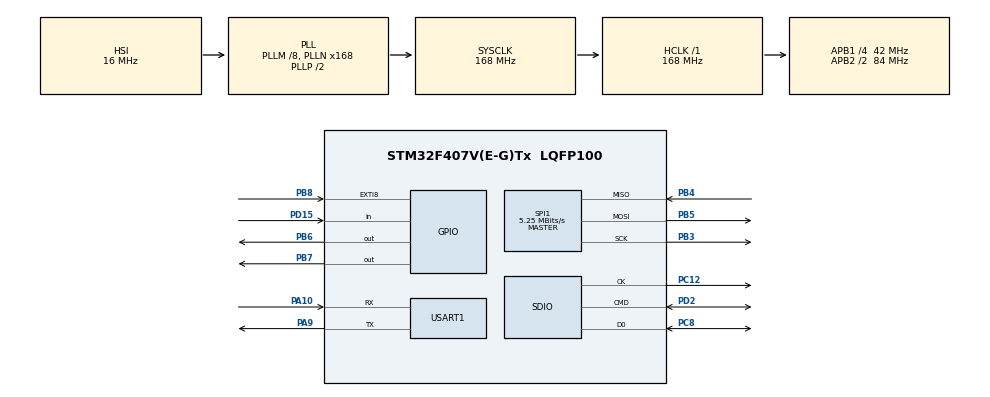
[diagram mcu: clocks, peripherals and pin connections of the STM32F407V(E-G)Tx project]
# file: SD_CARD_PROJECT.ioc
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FATFS.BSP.number=1
FATFS0.BSP.STBoard=false
FATFS0.BSP.api=Unknown
FATFS0.BSP.instance=PD15
FATFS0.BSP.ip=GPIO
FATFS0.BSP.mode=Input
FATFS0.BSP.name=Detect_SDIO
FATFS0.BSP.solution=PD15
Mcu.Family=STM32F4
Mcu.Name=STM32F407V(E-G)Tx
Mcu.Package=LQFP100
NVIC.PriorityGroup=NVIC_PRIORITYGROUP_4
NVIC.USART1_IRQn=true\:0\:0\:false\:false\:true\:true\:true\:true
PA10.Mode=Asynchronous
PA10.Signal=USART1_RX
PA9.Mode=Asynchronous
PA9.Signal=USART1_TX
PB3.Mode=Full_Duplex_Master
PB3.Signal=SPI1_SCK
PB4.Mode=Full_Duplex_Master
PB4.Signal=SPI1_MISO
PB5.Mode=Full_Duplex_Master
PB5.Signal=SPI1_MOSI
PB6.Signal=GPIO_Output
PB7.Signal=GPIO_Output
PB8.Signal=GPXTI8
PC12.Mode=SD_1_bit
PC12.Signal=SDIO_CK
PC8.Mode=SD_1_bit
PC8.Signal=SDIO_D0
PD15.Signal=GPIO_Input
PD2.Mode=SD_1_bit
PD2.Signal=SDIO_CMD
ProjectManager.HeapSize=0x2000
ProjectManager.StackSize=0x4000
ProjectManager.TargetToolchain=STM32CubeIDE
RCC.48MHZClocksFreq_Value=48000000
RCC.AHBFreq_Value=168000000
RCC.APB1CLKDivider=RCC_HCLK_DIV4
RCC.APB1Freq_Value=42000000
RCC.APB1TimFreq_Value=84000000
RCC.APB2CLKDivider=RCC_HCLK_DIV2
RCC.APB2Freq_Value=84000000
RCC.APB2TimFreq_Value=168000000
RCC.CortexFreq_Value=168000000
RCC.HCLKFreq_Value=168000000
RCC.HSE_VALUE=25000000
RCC.HSI_VALUE=16000000
RCC.LSE_VALUE=32768
RCC.PLLM=8
RCC.PLLN=168
RCC.PLLQ=7
RCC.SYSCLKFreq_VALUE=168000000
RCC.SYSCLKSource=RCC_SYSCLKSOURCE_PLLCLK
RCC.VCOOutputFreq_Value=336000000
SPI1.BaudRatePrescaler=SPI_BAUDRATEPRESCALER_16
SPI1.CalculateBaudRate=5.25 MBits/s
SPI1.Direction=SPI_DIRECTION_2LINES
SPI1.Mode=SPI_MODE_MASTER
SPI1.VirtualType=VM_MASTER
USART1.VirtualMode=VM_ASYNC
VP_FATFS_VS_SDIO.Mode=SDIO
board=custom

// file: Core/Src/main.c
/* USER CODE BEGIN Header */
/**
  ******************************************************************************
  * @file           : main.c
  * @brief          : Main program body
  ******************************************************************************
  * @attention
  *
  * Copyright (c) 2023 STMicroelectronics.
  * All rights reserved.
  *
  * This software is licensed under terms that can be found in the LICENSE file
  * in the root directory of this software component.
  * If no LICENSE file comes with this software, it is provided AS-IS.
  *
  ******************************************************************************
  */
/* USER CODE END Header */
#include "main.h"
#include "fatfs.h"

/* USER CODE BEGIN Includes */
#include "string.h"
#include "NRF24L01.h"
/* USER CODE END Includes */

SD_HandleTypeDef hsd;

SPI_HandleTypeDef hspi1;

UART_HandleTypeDef huart1;

void SystemClock_Config(void);
static void MX_GPIO_Init(void);
static void MX_SDIO_SD_Init(void);
static void MX_USART1_UART_Init(void);
static void MX_SPI1_Init(void);

/* USER CODE BEGIN 0 */

uint8_t data[50];

uint8_t TxAddress[] = {0xEE,0xDD,0xCC,0xBB,0xAA};
uint8_t TxData[] = "Hello World Transmitting data from STM32 to ESP32\n";
uint8_t transmit_status=0;
/* USER CODE END 0 */

int main(void)
{

  /* MCU Configuration--------------------------------------------------------*/

  /* Reset of all peripherals, Initializes the Flash interface and the Systick. */
  HAL_Init();

  /* Configure the system clock */
  SystemClock_Config();

  /* Initialize all configured peripherals */
  MX_GPIO_Init();
  MX_SDIO_SD_Init();
  MX_USART1_UART_Init();
  MX_FATFS_Init();
  MX_SPI1_Init();
  /* USER CODE BEGIN 2 */

  NRF24_Init();
  NRF24_TxMode(TxAddress, 10);

  FATFS myFATFS;
  FRESULT sd_status;
  FIL myfile;
  UINT fileLength;
  sd_status = f_mount(&myFATFS, SDPath, 1);

  uint8_t readFile[32];

  if( sd_status == FR_OK)
  {
	  uint8_t message[]= "SD CARD MOUNTED\n";
	  HAL_UART_Transmit_IT(&huart1, message, sizeof(message));
	  char myFilePath[] = "NEWFILE.TXT\0";
	  f_open(&myfile, myFilePath, FA_WRITE|FA_CREATE_ALWAYS);
	  char fileData[] = "***Hello Sandesh***\n";
	  f_write(&myfile, fileData, sizeof(fileData), &fileLength);
	  f_close(&myfile);

	  //Read file
	  char myReadFilePath[] = "READFILE.TXT\0";
	  f_open(&myfile, myReadFilePath, FA_READ|FA_OPEN_ALWAYS);
	  f_read(&myfile,readFile,32,&fileLength );
	  f_close(&myfile);

	  //Transmit read file on UART
	  HAL_UART_Transmit_IT(&huart1, (uint8_t *)readFile, sizeof(readFile));

  }

  else
  {
	  //uint8_t value = (uint8_t) sd_status;
	  uint8_t message[]= "Mounting Error\n";
	  HAL_UART_Transmit_IT(&huart1, message, sizeof(message));

  }
  /* USER CODE END 2 */

  /* Infinite loop */
  while (1)
  {
	  //if (NRF24_Transmit(TxData) == 1)
	  if (NRF24_Transmit(readFile) == 1)
	  {
		  uint8_t message[]= "Wifi Transmit Successful\n";
		  transmit_status=1;
		  HAL_UART_Transmit_IT(&huart1, message, sizeof(message));
	  }
	  else
	  {
		  uint8_t message[]= "Wifi Transmit Error\n";
		  HAL_UART_Transmit_IT(&huart1, message, sizeof(message));
		  transmit_status=0;
	  }

	  HAL_Delay(1000);

  }
}

void SystemClock_Config(void)
{
  RCC_OscInitTypeDef RCC_OscInitStruct = {0};
  RCC_ClkInitTypeDef RCC_ClkInitStruct = {0};

  /** Configure the main internal regulator output voltage
  */
  __HAL_RCC_PWR_CLK_ENABLE();
  __HAL_PWR_VOLTAGESCALING_CONFIG(PWR_REGULATOR_VOLTAGE_SCALE1);

  /** Initializes the RCC Oscillators according to the specified parameters
  * in the RCC_OscInitTypeDef structure.
  */
  RCC_OscInitStruct.OscillatorType = RCC_OSCILLATORTYPE_HSI;
  RCC_OscInitStruct.HSIState = RCC_HSI_ON;
  RCC_OscInitStruct.HSICalibrationValue = RCC_HSICALIBRATION_DEFAULT;
  RCC_OscInitStruct.PLL.PLLState = RCC_PLL_ON;
  RCC_OscInitStruct.PLL.PLLSource = RCC_PLLSOURCE_HSI;
  RCC_OscInitStruct.PLL.PLLM = 8;
  RCC_OscInitStruct.PLL.PLLN = 168;
  RCC_OscInitStruct.PLL.PLLP = RCC_PLLP_DIV2;
  RCC_OscInitStruct.PLL.PLLQ = 7;
  if (HAL_RCC_OscConfig(&RCC_OscInitStruct) != HAL_OK)
  {
    Error_Handler();
  }

  /** Initializes the CPU, AHB and APB buses clocks
  */
  RCC_ClkInitStruct.ClockType = RCC_CLOCKTYPE_HCLK|RCC_CLOCKTYPE_SYSCLK
                              |RCC_CLOCKTYPE_PCLK1|RCC_CLOCKTYPE_PCLK2;
  RCC_ClkInitStruct.SYSCLKSource = RCC_SYSCLKSOURCE_PLLCLK;
  RCC_ClkInitStruct.AHBCLKDivider = RCC_SYSCLK_DIV1;
  RCC_ClkInitStruct.APB1CLKDivider = RCC_HCLK_DIV4;
  RCC_ClkInitStruct.APB2CLKDivider = RCC_HCLK_DIV2;

  if (HAL_RCC_ClockConfig(&RCC_ClkInitStruct, FLASH_LATENCY_5) != HAL_OK)
  {
    Error_Handler();
  }
}

static void MX_SDIO_SD_Init(void)
{

  hsd.Instance = SDIO;
  hsd.Init.ClockEdge = SDIO_CLOCK_EDGE_RISING;
  hsd.Init.ClockBypass = SDIO_CLOCK_BYPASS_DISABLE;
  hsd.Init.ClockPowerSave = SDIO_CLOCK_POWER_SAVE_DISABLE;
  hsd.Init.BusWide = SDIO_BUS_WIDE_1B;
  hsd.Init.HardwareFlowControl = SDIO_HARDWARE_FLOW_CONTROL_DISABLE;
  hsd.Init.ClockDiv = 0;

}

static void MX_SPI1_Init(void)
{

  /* SPI1 parameter configuration*/
  hspi1.Instance = SPI1;
  hspi1.Init.Mode = SPI_MODE_MASTER;
  hspi1.Init.Direction = SPI_DIRECTION_2LINES;
  hspi1.Init.DataSize = SPI_DATASIZE_8BIT;
  hspi1.Init.CLKPolarity = SPI_POLARITY_LOW;
  hspi1.Init.CLKPhase = SPI_PHASE_1EDGE;
  hspi1.Init.NSS = SPI_NSS_SOFT;
  hspi1.Init.BaudRatePrescaler = SPI_BAUDRATEPRESCALER_16;
  hspi1.Init.FirstBit = SPI_FIRSTBIT_MSB;
  hspi1.Init.TIMode = SPI_TIMODE_DISABLE;
  hspi1.Init.CRCCalculation = SPI_CRCCALCULATION_DISABLE;
  hspi1.Init.CRCPolynomial = 10;
  if (HAL_SPI_Init(&hspi1) != HAL_OK)
  {
    Error_Handler();
  }

}

static void MX_USART1_UART_Init(void)
{

  huart1.Instance = USART1;
  huart1.Init.BaudRate = 115200;
  huart1.Init.WordLength = UART_WORDLENGTH_8B;
  huart1.Init.StopBits = UART_STOPBITS_1;
  huart1.Init.Parity = UART_PARITY_NONE;
  huart1.Init.Mode = UART_MODE_TX_RX;
  huart1.Init.HwFlowCtl = UART_HWCONTROL_NONE;
  huart1.Init.OverSampling = UART_OVERSAMPLING_16;
  if (HAL_UART_Init(&huart1) != HAL_OK)
  {
    Error_Handler();
  }

}

static void MX_GPIO_Init(void)
{
  GPIO_InitTypeDef GPIO_InitStruct = {0};

  /* GPIO Ports Clock Enable */
  __HAL_RCC_GPIOD_CLK_ENABLE();
  __HAL_RCC_GPIOC_CLK_ENABLE();
  __HAL_RCC_GPIOA_CLK_ENABLE();
  __HAL_RCC_GPIOB_CLK_ENABLE();

  /*Configure GPIO pin Output Level */
  HAL_GPIO_WritePin(GPIOB, GPIO_PIN_6|GPIO_PIN_7, GPIO_PIN_RESET);

  /*Configure GPIO pin : PD15 */
  GPIO_InitStruct.Pin = GPIO_PIN_15;
  GPIO_InitStruct.Mode = GPIO_MODE_INPUT;
  GPIO_InitStruct.Pull = GPIO_NOPULL;
  HAL_GPIO_Init(GPIOD, &GPIO_InitStruct);

  /*Configure GPIO pins : PB6 PB7 */
  GPIO_InitStruct.Pin = GPIO_PIN_6|GPIO_PIN_7;
  GPIO_InitStruct.Mode = GPIO_MODE_OUTPUT_PP;
  GPIO_InitStruct.Pull = GPIO_NOPULL;
  GPIO_InitStruct.Speed = GPIO_SPEED_FREQ_LOW;
  HAL_GPIO_Init(GPIOB, &GPIO_InitStruct);

  /*Configure GPIO pin : PB8 */
  GPIO_InitStruct.Pin = GPIO_PIN_8;
  GPIO_InitStruct.Mode = GPIO_MODE_IT_RISING;
  GPIO_InitStruct.Pull = GPIO_NOPULL;
  HAL_GPIO_Init(GPIOB, &GPIO_InitStruct);

}

void Error_Handler(void)
{
  __disable_irq();
  while (1)
  {
  }
}
